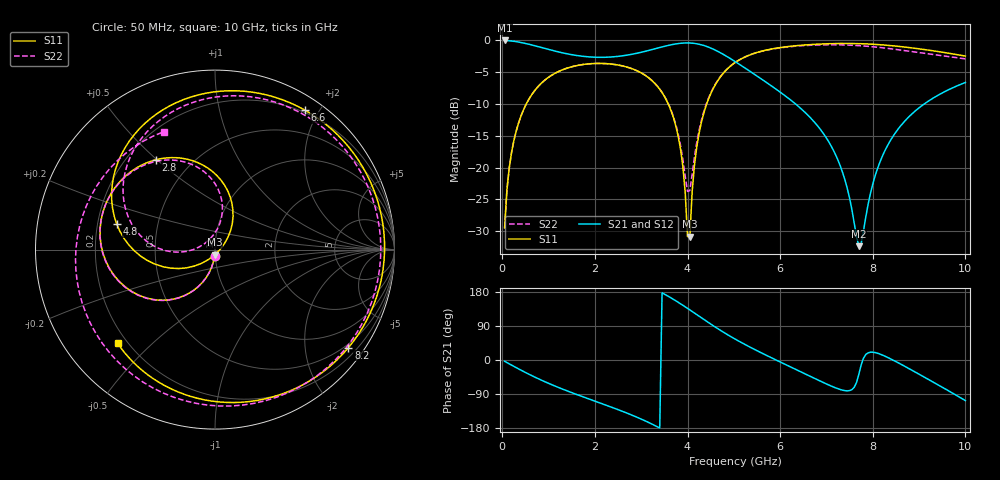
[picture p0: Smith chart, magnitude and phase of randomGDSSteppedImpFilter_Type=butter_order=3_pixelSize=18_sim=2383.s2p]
! freq	dB(S11)	phase(S11)	dB(S12)	phase(S12)
!  dB(S21)	phase(S21)	dB(S22)	phase(S22)
!S-par simulation data
#  GHz  S  DB  R 50
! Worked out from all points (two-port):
!   200 points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, 50 MHz to 10 GHz, reference 50 ohm
!   highest |S21| = -0.01 dB at 50 MHz (marker M1); lowest = -32.3 dB at 7.7 GHz (marker M2)
!   |S21| within 3 dB of the highest: start of sweep to 4.959 GHz
!   lowest |S11| = -30.8 dB at 4.05 GHz (marker M3), VSWR 1.06, Z = 49.8 - j2.86 ohm
!   |S11| at or under -10 dB: start of sweep to 518.1 MHz; 3.583 GHz to 4.414 GHz (830.5 MHz wide, 20.8 % of centre)
!   |S22| runs from -29.5 to -0.7 dB; largest |S21 - S12| = 0
!   S11 on the Smith chart (normalised r, x): 50 MHz: 0.99, -0.07; 2.8 GHz: 0.32, +0.50; 4.8 GHz: 0.28, +0.12; 6.6 GHz: 0.17, +1.82; 8.2 GHz: 0.41, -3.00; 10 GHz: 0.16, -0.39
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0.05  -29.48 -93.6  -0.01 -3.4  -0.01 -3.4  -29.48 -93.6
0.2  -17.61 -104.2  -0.10 -13.5  -0.10 -13.5  -17.61 -104.1
0.5  -10.25 -123.6  -0.48 -32.9  -0.48 -32.9  -10.25 -123.4
1.75  -3.78 171.7  -2.51 -97.5  -2.51 -97.5  -3.78 172.5
2.8  -4.45 123.4  -2.18 -145.5  -2.18 -145.5  -4.44 125.9
3.4  -7.68 88.6  -1.12 -179.5  -1.12 -179.5  -7.65 95.1
3.8  -15.12 56.6  -0.49 152.2  -0.49 152.2  -14.76 78.5
4  -30.82 1.9  -0.40 136.3  -0.40 136.3  -23.74 116.7
4.05  -30.84 -91.8  -0.41 132.2  -0.41 132.2  -23.59 148.6
4.15  -19.57 -134.0  -0.47 123.9  -0.47 123.9  -18.28 -179.9
4.25  -14.56 -147.1  -0.60 115.5  -0.60 115.5  -14.09 -175.8
4.8  -4.94 165.3  -2.31 71.5  -2.31 71.5  -4.90 152.8
5.05  -3.37 147.6  -3.43 53.6  -3.43 53.6  -3.36 136.1
5.85  -1.30 99.0  -7.35 3.6  -7.35 3.6  -1.34 86.2
6.6  -0.68 57.3  -11.76 -40.2  -11.76 -40.2  -0.78 38.8
6.7  -0.64 51.7  -12.52 -46.0  -12.52 -46.0  -0.75 32.1
7.3  -0.48 17.3  -19.76 -78.0  -19.76 -78.0  -0.70 -11.0
7.7  -0.51 -6.4  -32.34 -37.5  -32.34 -37.5  -0.82 -42.4
8.2  -0.70 -36.3  -18.32 13.5  -18.32 13.5  -1.15 -84.1
8.35  -0.79 -45.2  -16.12 5.1  -16.12 5.1  -1.28 -97.0
9.2  -1.52 -94.0  -9.54 -51.1  -9.54 -51.1  -2.12 -171.6
10  -2.46 -136.1  -6.62 -107.1  -6.62 -107.1  -2.90 113.4
